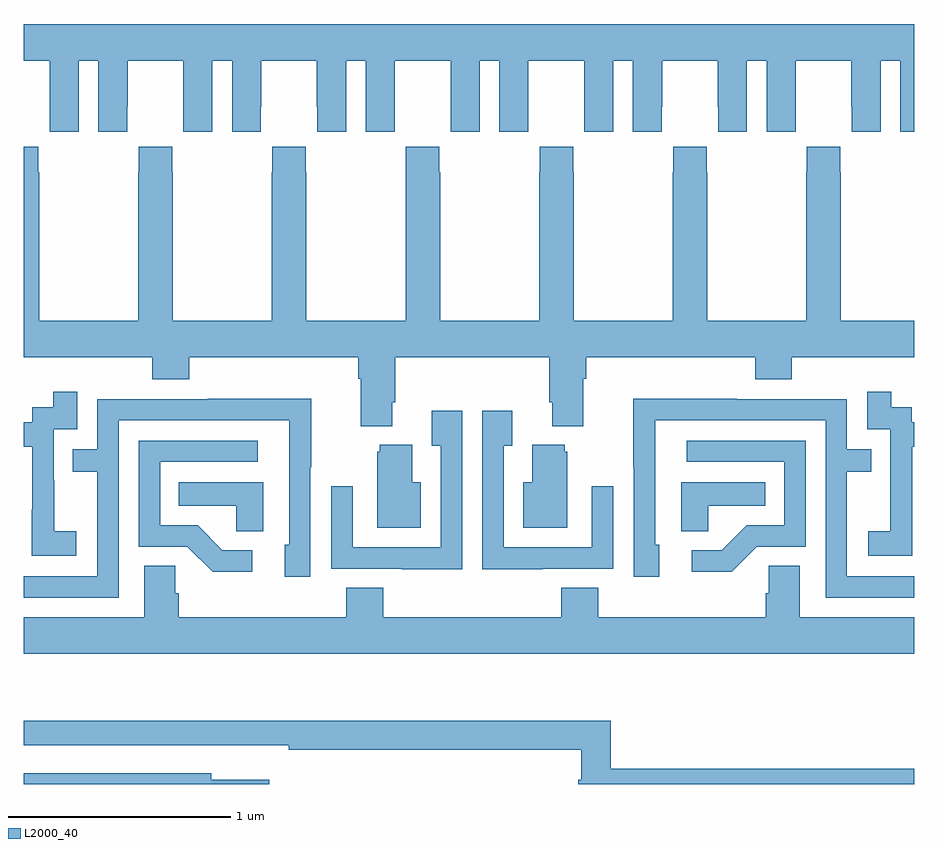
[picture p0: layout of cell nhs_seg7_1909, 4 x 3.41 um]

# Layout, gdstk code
import gdstk
lib = gdstk.Library(unit=1e-6, precision=1e-09)
def P(c, l, *ps):  # polygons
    for p in ps: c.add(gdstk.Polygon(p, *l))
L2000_40 = (2000, 40)

nhs_seg7_1909 = lib.new_cell('nhs_seg7_1909')
P(nhs_seg7_1909, L2000_40, [(239,1035.248),(239.117,1035.248),(239.117,1035.04),(239.118,1035.04),(239.118,1034.928),(239.248,1034.928),(239.248,1035.248),(239.336,1035.248),(239.336,1034.928),(239.466,1034.928),(239.466,1035.04),(239.467,1035.04),(239.467,1035.248),(239.717,1035.248),(239.717,1035.04),(239.718,1035.04),(239.718,1034.928),(239.848,1034.928),(239.848,1035.248),(239.936,1035.248),(239.936,1034.928),(240.066,1034.928),(240.066,1035.04),(240.067,1035.04),(240.067,1035.248),(240.317,1035.248),(240.317,1035.04),(240.318,1035.04),(240.318,1034.928),(240.448,1034.928),(240.448,1035.248),(240.536,1035.248),(240.536,1034.928),(240.666,1034.928),(240.666,1035.04),(240.667,1035.04),(240.667,1035.248),(240.917,1035.248),(240.917,1035.04),(240.918,1035.04),(240.918,1034.928),(241.048,1034.928),(241.048,1035.248),(241.136,1035.248),(241.136,1034.928),(241.266,1034.928),(241.266,1035.04),(241.267,1035.04),(241.267,1035.248),(241.517,1035.248),(241.517,1035.04),(241.518,1035.04),(241.518,1034.928),(241.648,1034.928),(241.648,1035.248),(241.736,1035.248),(241.736,1034.928),(241.866,1034.928),(241.866,1035.04),(241.867,1035.04),(241.867,1035.248),(242.117,1035.248),(242.117,1035.04),(242.118,1035.04),(242.118,1034.928),(242.248,1034.928),(242.248,1035.248),(242.336,1035.248),(242.336,1034.928),(242.466,1034.928),(242.466,1035.04),(242.467,1035.04),(242.467,1035.248),(242.717,1035.248),(242.717,1035.04),(242.718,1035.04),(242.718,1034.928),(242.848,1034.928),(242.848,1035.248),(242.936,1035.248),(242.936,1034.928),(243,1034.928),(243,1035.412),(239,1035.412)],
  [(240.655,1033.714),(240.668,1033.714),(240.668,1033.916),(241.361,1033.916),(241.361,1033.714),(241.373,1033.714),(241.373,1033.607),(241.513,1033.607),(241.513,1033.82),(241.526,1033.82),(241.526,1033.916),(242.285,1033.916),(242.285,1033.817),(242.45,1033.817),(242.45,1033.916),(243,1033.916),(243,1034.08),(242.67,1034.08),(242.67,1034.747),(242.667,1034.747),(242.667,1034.86),(242.517,1034.86),(242.517,1034.747),(242.515,1034.747),(242.515,1034.08),(242.07,1034.08),(242.07,1034.747),(242.067,1034.747),(242.067,1034.86),(241.917,1034.86),(241.917,1034.747),(241.915,1034.747),(241.915,1034.08),(241.47,1034.08),(241.47,1034.747),(241.467,1034.747),(241.467,1034.86),(241.317,1034.86),(241.317,1034.747),(241.315,1034.747),(241.315,1034.08),(240.87,1034.08),(240.87,1034.747),(240.867,1034.747),(240.867,1034.86),(240.717,1034.86),(240.717,1034.747),(240.715,1034.747),(240.715,1034.08),(240.27,1034.08),(240.27,1034.747),(240.267,1034.747),(240.267,1034.86),(240.117,1034.86),(240.117,1034.747),(240.115,1034.747),(240.115,1034.08),(239.67,1034.08),(239.67,1034.747),(239.667,1034.747),(239.667,1034.86),(239.517,1034.86),(239.517,1034.747),(239.515,1034.747),(239.515,1034.08),(239.07,1034.08),(239.07,1034.747),(239.067,1034.747),(239.067,1034.86),(239,1034.86),(239,1033.916),(239.579,1033.916),(239.579,1033.817),(239.744,1033.817),(239.744,1033.916),(240.503,1033.916),(240.503,1033.82),(240.515,1033.82),(240.515,1033.607),(240.655,1033.607)],
  [(239.236,1033.135),(239.138,1033.135),(239.138,1033.364),(239.136,1033.364),(239.136,1033.593),(239.241,1033.593),(239.241,1033.762),(239.133,1033.762),(239.133,1033.692),(239.04,1033.692),(239.04,1033.623),(239,1033.623),(239,1033.515),(239.039,1033.515),(239.039,1033.231),(239.038,1033.231),(239.038,1033.025),(239.236,1033.025)],
  [(242.991,1033.231),(242.99,1033.231),(242.99,1033.515),(243,1033.515),(243,1033.623),(242.988,1033.623),(242.988,1033.692),(242.896,1033.692),(242.896,1033.762),(242.787,1033.762),(242.787,1033.593),(242.892,1033.593),(242.892,1033.364),(242.891,1033.364),(242.891,1033.135),(242.793,1033.135),(242.793,1033.025),(242.991,1033.025)],
  [(243,1032.933),(242.697,1032.933),(242.697,1033.402),(242.807,1033.402),(242.807,1033.503),(242.697,1033.503),(242.697,1033.728),(242.201,1033.728),(242.201,1033.73),(241.738,1033.73),(241.738,1033.423),(241.74,1033.423),(241.74,1032.93),(241.855,1032.93),(241.855,1033.074),(241.836,1033.074),(241.836,1033.632),(242.601,1033.632),(242.601,1032.837),(243,1032.837)],
  [(239.427,1033.632),(240.192,1033.632),(240.192,1033.074),(240.173,1033.074),(240.173,1032.93),(240.288,1032.93),(240.288,1033.423),(240.291,1033.423),(240.291,1033.73),(239.827,1033.73),(239.827,1033.728),(239.331,1033.728),(239.331,1033.503),(239.221,1033.503),(239.221,1033.402),(239.331,1033.402),(239.331,1032.933),(239,1032.933),(239,1032.837),(239.427,1032.837)],
  [(241.331,1032.966),(241.647,1032.966),(241.647,1033.336),(241.551,1033.336),(241.551,1033.062),(241.155,1033.062),(241.155,1033.519),(241.195,1033.519),(241.195,1033.675),(241.059,1033.675),(241.059,1032.965),(241.331,1032.965)],
  [(240.969,1033.675),(240.833,1033.675),(240.833,1033.519),(240.873,1033.519),(240.873,1033.062),(240.477,1033.062),(240.477,1033.336),(240.381,1033.336),(240.381,1032.966),(240.697,1032.966),(240.697,1032.965),(240.969,1032.965)],
  [(242.292,1033.065),(242.511,1033.065),(242.511,1033.542),(241.977,1033.542),(241.977,1033.446),(242.415,1033.446),(242.415,1033.161),(242.246,1033.161),(242.135,1033.05),(242.001,1033.05),(242.001,1032.953),(242.179,1032.953)],
  [(240.028,1033.05),(239.893,1033.05),(239.782,1033.161),(239.613,1033.161),(239.613,1033.446),(240.052,1033.446),(240.052,1033.542),(239.517,1033.542),(239.517,1033.065),(239.736,1033.065),(239.849,1032.953),(240.028,1032.953)],
  [(240.784,1033.354),(240.745,1033.354),(240.745,1033.522),(240.599,1033.522),(240.599,1033.491),(240.587,1033.491),(240.587,1033.151),(240.784,1033.151)],
  [(241.441,1033.491),(241.43,1033.491),(241.43,1033.522),(241.283,1033.522),(241.283,1033.354),(241.244,1033.354),(241.244,1033.151),(241.441,1033.151)],
  [(242.073,1033.25),(242.33,1033.25),(242.33,1033.354),(241.952,1033.354),(241.952,1033.135),(242.073,1033.135)],
  [(240.076,1033.354),(239.698,1033.354),(239.698,1033.25),(239.955,1033.25),(239.955,1033.135),(240.076,1033.135)],
  [(243,1032.748),(242.485,1032.748),(242.485,1032.98),(242.346,1032.98),(242.346,1032.857),(242.333,1032.857),(242.333,1032.748),(241.58,1032.748),(241.58,1032.881),(241.415,1032.881),(241.415,1032.748),(240.614,1032.748),(240.614,1032.881),(240.449,1032.881),(240.449,1032.748),(239.696,1032.748),(239.696,1032.857),(239.682,1032.857),(239.682,1032.98),(239.543,1032.98),(239.543,1032.748),(239,1032.748),(239,1032.584),(243,1032.584)],
  [(243,1032.068),(241.637,1032.068),(241.637,1032.283),(239,1032.283),(239,1032.174),(239.938,1032.174),(239.938,1032.173),(240.19,1032.173),(240.19,1032.154),(241.505,1032.154),(241.505,1032.019),(241.49,1032.019),(241.49,1032),(243,1032)],
  [(240.103,1032.019),(239.842,1032.019),(239.842,1032.048),(239,1032.048),(239,1032),(240.103,1032)])

lib.write_gds('nhs_seg7_1909.gds')
